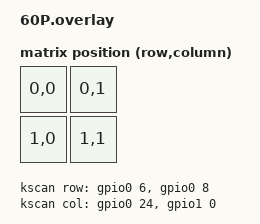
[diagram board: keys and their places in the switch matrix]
#include <dt-bindings/zmk/matrix_transform.h>

 / {
    chosen {
        zmk,kscan = &kscan;
        zmk,matrix_transform = &default_transform;
    };

    default_transform: keymap_transform {
        compatible = "zmk,matrix-transform";
        rows = <2>;
        columns = <2>;

        map = <  
            RC(0,0) RC(0,1)
            RC(1,0) RC(1,1)
        >;
    };

    kscan: kscan {
        compatible = "zmk,kscan-gpio-matrix";
        diode-direction = "col2row";

        row-gpios = <  
            &gpio0 6 (GPIO_PULL_DOWN | GPIO_ACTIVE_HIGH)  // P0.06
            &gpio0 8 (GPIO_PULL_DOWN | GPIO_ACTIVE_HIGH)  // P0.08
        >;

        col-gpios = <  
            &gpio0 24 GPIO_ACTIVE_HIGH  // P0.24
            &gpio1 0  GPIO_ACTIVE_HIGH  // P1.00
        >;
    };
};
